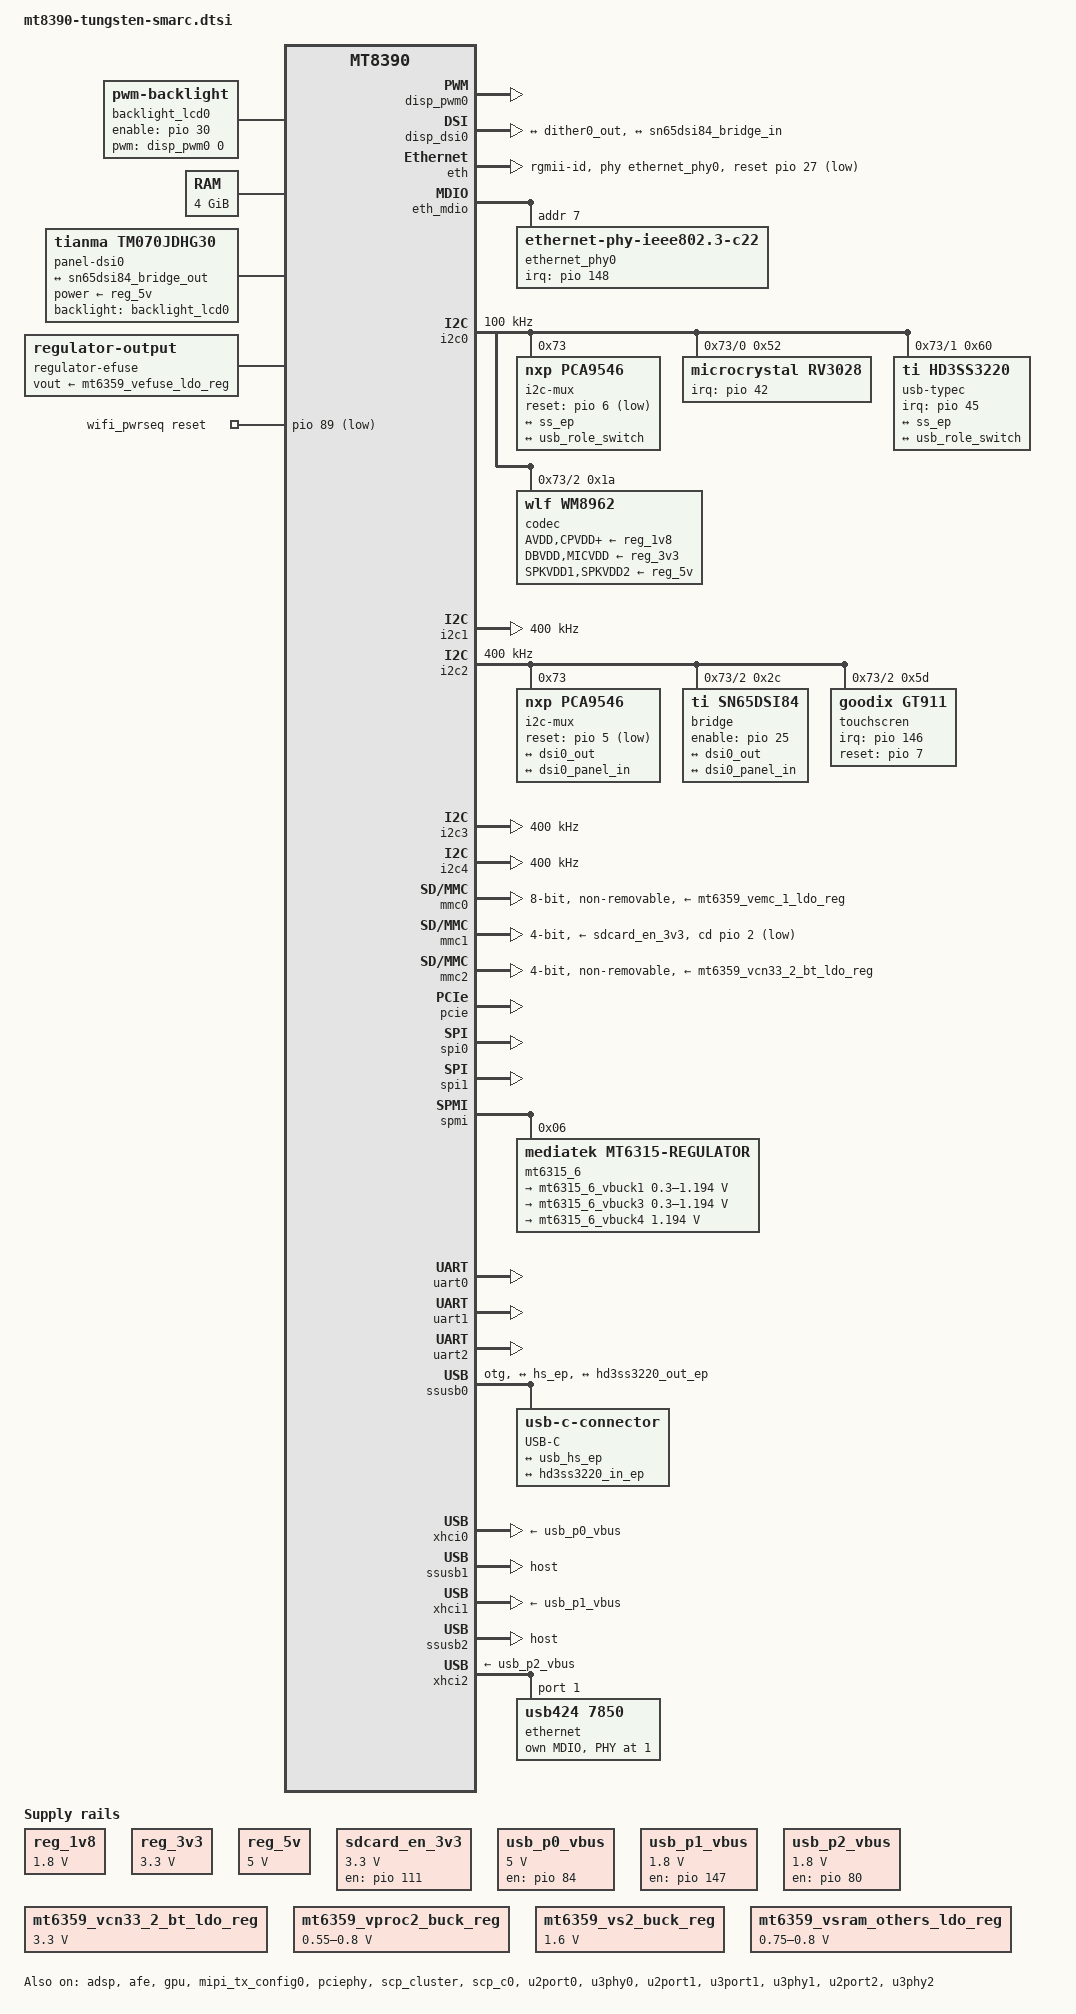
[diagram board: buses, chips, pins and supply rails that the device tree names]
// SPDX-License-Identifier: (GPL-2.0 OR MIT)
/*
 * Copyright (C) 2025 Ezurio LLC
 * Author: Gary Bisson <bisson.gary@gmail.com>
 */

#include "mt6359.dtsi"
#include <dt-bindings/gpio/gpio.h>
#include <dt-bindings/input/input.h>
#include <dt-bindings/input/linux-event-codes.h>
#include <dt-bindings/interrupt-controller/irq.h>
#include <dt-bindings/net/microchip-lan78xx.h>
#include <dt-bindings/pinctrl/mediatek,mt8188-pinfunc.h>
#include <dt-bindings/spmi/spmi.h>
#include <dt-bindings/usb/pd.h>

/ {
	aliases {
		dsi0 = &disp_dsi0;
		ethernet0 = &eth;
		i2c0 = &i2c0;
		i2c1 = &i2c1;
		i2c2 = &i2c2;
		i2c3 = &i2c3;
		i2c4 = &i2c4;
		i2c5 = &i2c5;
		i2c6 = &i2c6;
		mmc0 = &mmc0;
		mmc1 = &mmc1;
		mmc2 = &mmc2;
		rtc0 = &rv3028;
		rtc1 = &mt6359rtc;
		serial0 = &uart0;
	};

	backlight_lcd0: backlight-lcd0 {
		compatible = "pwm-backlight";
		brightness-levels = <0 1023>;
		default-brightness-level = <768>;
		num-interpolated-steps = <1023>;
		enable-gpios = <&pio 30 GPIO_ACTIVE_HIGH>;
		pwms = <&disp_pwm0 0 30000>;
	};

	chosen {
		stdout-path = "serial0:115200n8";
	};

	firmware {
		optee {
			compatible = "linaro,optee-tz";
			method = "smc";
		};
	};

	memory@40000000 {
		device_type = "memory";
		reg = <0 0x40000000 0x1 0x00000000>;
	};

	panel-dsi0 {
		compatible = "tianma,tm070jdhg30";
		backlight = <&backlight_lcd0>;
		power-supply = <&reg_5v>;

		port {
			dsi0_panel_in: endpoint {
				remote-endpoint = <&sn65dsi84_bridge_out>;
			};
		};
	};

	reserved-memory {
		#address-cells = <2>;
		#size-cells = <2>;
		ranges;

		/*
		 * 12 MiB reserved for OP-TEE (BL32)
		 * +-----------------------+ 0x43e0_0000
		 * |      SHMEM 2MiB       |
		 * +-----------------------+ 0x43c0_0000
		 * |        | TA_RAM  8MiB |
		 * + TZDRAM +--------------+ 0x4340_0000
		 * |        | TEE_RAM 2MiB |
		 * +-----------------------+ 0x4320_0000
		 */
		optee_reserved: optee@43200000 {
			no-map;
			reg = <0 0x43200000 0 0x00c00000>;
		};

		scp_mem: memory@50000000 {
			compatible = "shared-dma-pool";
			reg = <0 0x50000000 0 0x2900000>;
			no-map;
		};

		/* 2 MiB reserved for ARM Trusted Firmware (BL31) */
		bl31_secmon_reserved: memory@54600000 {
			no-map;
			reg = <0 0x54600000 0x0 0x200000>;
		};

		apu_mem: memory@55000000 {
			compatible = "shared-dma-pool";
			reg = <0 0x55000000 0 0x1400000>; /* 20 MB */
		};

		vpu_mem: memory@57000000 {
			compatible = "shared-dma-pool";
			reg = <0 0x57000000 0 0x1400000>; /* 20 MB */
		};

		adsp_mem: memory@60000000 {
			compatible = "shared-dma-pool";
			reg = <0 0x60000000 0 0xf00000>;
			no-map;
		};

		afe_dma_mem: memory@60f00000 {
			compatible = "shared-dma-pool";
			reg = <0 0x60f00000 0 0x100000>;
			no-map;
		};

		adsp_dma_mem: memory@61000000 {
			compatible = "shared-dma-pool";
			reg = <0 0x61000000 0 0x100000>;
			no-map;
		};
	};

	regulator-efuse {
		compatible = "regulator-output";
		vout-supply = <&mt6359_vefuse_ldo_reg>;
	};

	reg_1v8: regulator-1v8 {
		compatible = "regulator-fixed";
		regulator-name = "reg_1v8";
		regulator-min-microvolt = <1800000>;
		regulator-max-microvolt = <1800000>;
		regulator-always-on;
	};

	reg_3v3: regulator-3v3 {
		compatible = "regulator-fixed";
		regulator-name = "reg_3v3";
		regulator-min-microvolt = <3300000>;
		regulator-max-microvolt = <3300000>;
		regulator-always-on;
	};

	reg_5v: regulator-5v {
		compatible = "regulator-fixed";
		regulator-name = "reg_5v";
		regulator-min-microvolt = <5000000>;
		regulator-max-microvolt = <5000000>;
		regulator-always-on;
	};

	sdcard_en_3v3: regulator-sdcard-en {
		compatible = "regulator-fixed";
		regulator-always-on;
		regulator-name = "sdcard_en_3v3";
		regulator-min-microvolt = <3300000>;
		regulator-max-microvolt = <3300000>;
		gpio = <&pio 111 GPIO_ACTIVE_HIGH>;
		enable-active-high;
	};

	usb_p0_vbus: regulator-usb-p0-vbus {
		compatible = "regulator-fixed";
		regulator-name = "vbus_p0";
		regulator-min-microvolt = <5000000>;
		regulator-max-microvolt = <5000000>;
		gpio = <&pio 84 GPIO_ACTIVE_HIGH>;
		enable-active-high;
	};

	usb_p1_vbus: regulator-usb-p1-vbus {
		compatible = "regulator-fixed";
		pinctrl-names = "default";
		pinctrl-0 = <&usb1_hub_pins>;
		regulator-name = "vbus_p1";
		regulator-min-microvolt = <1800000>;
		regulator-max-microvolt = <1800000>;
		gpio = <&pio 147 GPIO_ACTIVE_HIGH>;
		enable-active-high;
	};

	usb_p2_vbus: regulator-usb-p2-vbus {
		compatible = "regulator-fixed";
		pinctrl-names = "default";
		pinctrl-0 = <&usb2_eth_pins>;
		regulator-name = "vbus_p2";
		regulator-min-microvolt = <1800000>;
		regulator-max-microvolt = <1800000>;
		gpio = <&pio 80 GPIO_ACTIVE_HIGH>;
		enable-active-high;
	};

	wifi_pwrseq: wifi-pwrseq {
		compatible = "mmc-pwrseq-simple";
		pinctrl-names = "default";
		pinctrl-0 = <&wifi_pwrseq_pins>;
		post-power-on-delay-ms = <200>;
		reset-gpios = <&pio 89 GPIO_ACTIVE_LOW>;
	};
};

&adsp {
	memory-region = <&adsp_dma_mem>, <&adsp_mem>;
	status = "okay";
};

&afe {
	memory-region = <&afe_dma_mem>;
	status = "okay";
};

&cpu0 {
	cpu-supply = <&mt6359_vcore_buck_reg>;
};

&cpu1 {
	cpu-supply = <&mt6359_vcore_buck_reg>;
};

&cpu2 {
	cpu-supply = <&mt6359_vcore_buck_reg>;
};

&cpu3 {
	cpu-supply = <&mt6359_vcore_buck_reg>;
};

&cpu6 {
	cpu-supply = <&mt6315_6_vbuck1>;
};

&cpu7 {
	cpu-supply = <&mt6315_6_vbuck1>;
};

&disp_pwm0 {
	pinctrl-names = "default";
	pinctrl-0 = <&disp_pwm0_pins>;
	status = "okay";
};

&disp_dsi0 {
	#address-cells = <1>;
	#size-cells = <0>;
	status = "okay";

	ports {
		#address-cells = <1>;
		#size-cells = <0>;

		port@0 {
			reg = <0>;
			dsi0_in: endpoint {
				remote-endpoint = <&dither0_out>;
			};
		};

		port@1 {
			reg = <1>;
			dsi0_out: endpoint {
				remote-endpoint = <&sn65dsi84_bridge_in>;
			};
		};
	};
};

&dither0_in {
	remote-endpoint = <&postmask0_out>;
};

&dither0_out {
	remote-endpoint = <&dsi0_in>;
};

&eth {
	phy-mode ="rgmii-id";
	phy-handle = <&ethernet_phy0>;
	pinctrl-names = "default", "sleep";
	pinctrl-0 = <&eth_default_pins>;
	pinctrl-1 = <&eth_sleep_pins>;
	mediatek,mac-wol;
	snps,reset-gpio = <&pio 27 GPIO_ACTIVE_LOW>;
	snps,reset-active-low;
	snps,reset-delays-us = <0 11000 1000>;
	status = "okay";
};

&eth_mdio {
	ethernet_phy0: ethernet-phy@7 {
		compatible = "ethernet-phy-ieee802.3-c22";
		reg = <0x7>;
		interrupts-extended = <&pio 148 IRQ_TYPE_LEVEL_LOW>;
	};
};

&gamma0_out {
	remote-endpoint = <&postmask0_in>;
};

&gpu {
	mali-supply = <&mt6359_vproc2_buck_reg>;
	status = "okay";
};

&i2c0 {
	pinctrl-names = "default";
	pinctrl-0 = <&i2c0_pins>;
	clock-frequency = <100000>;
	status = "okay";

	i2c-mux@73 {
		compatible = "nxp,pca9546";
		reg = <0x73>;
		pinctrl-names = "default";
		pinctrl-0 = <&i2c0_mux_pins>;
		reset-gpios = <&pio 6 GPIO_ACTIVE_LOW>;
		#address-cells = <1>;
		#size-cells = <0>;

		i2c_mux_gp_0: i2c@0 {
			reg = <0>;
			clock-frequency = <100000>;
			#address-cells = <1>;
			#size-cells = <0>;
		};

		i2c_mux_gp_1: i2c@1 {
			reg = <1>;
			clock-frequency = <100000>;
			#address-cells = <1>;
			#size-cells = <0>;
		};

		i2c_mux_gp_2: i2c@2 {
			reg = <2>;
			clock-frequency = <100000>;
			#address-cells = <1>;
			#size-cells = <0>;
		};

		i2c_mux_gp_3: i2c@3 {
			reg = <3>;
			clock-frequency = <100000>;
			#address-cells = <1>;
			#size-cells = <0>;
		};
	};
};

&i2c1 {
	pinctrl-names = "default";
	pinctrl-0 = <&i2c1_pins>;
	clock-frequency = <400000>;
	status = "okay";
};

&i2c2 {
	pinctrl-names = "default";
	pinctrl-0 = <&i2c2_pins>;
	clock-frequency = <400000>;
	status = "okay";

	i2c-mux@73 {
		compatible = "nxp,pca9546";
		reg = <0x73>;
		pinctrl-names = "default";
		pinctrl-0 = <&i2c_mux_smarc_lcd_pins>;
		reset-gpios = <&pio 5 GPIO_ACTIVE_LOW>;
		#address-cells = <1>;
		#size-cells = <0>;

		i2c_mux_lcd_0: i2c@0 {
			reg = <0>;
			clock-frequency = <100000>;
			#address-cells = <1>;
			#size-cells = <0>;
		};

		i2c_mux_lcd_1: i2c@1 {
			reg = <1>;
			clock-frequency = <100000>;
			#address-cells = <1>;
			#size-cells = <0>;
		};

		i2c_mux_lcd_2: i2c@2 {
			reg = <2>;
			clock-frequency = <100000>;
			#address-cells = <1>;
			#size-cells = <0>;
		};

		i2c_mux_lcd_3: i2c@3 {
			reg = <3>;
			clock-frequency = <100000>;
			#address-cells = <1>;
			#size-cells = <0>;
		};
	};
};

&i2c3 {
	pinctrl-names = "default";
	pinctrl-0 = <&i2c3_pins>;
	clock-frequency = <400000>;
	status = "okay";
};

&i2c4 {
	pinctrl-names = "default";
	pinctrl-0 = <&i2c4_pins>;
	clock-frequency = <400000>;
	status = "okay";
};

&i2c_mux_gp_0 {
	rv3028: rtc@52 {
		compatible = "microcrystal,rv3028";
		reg = <0x52>;
		interrupts-extended = <&pio 42 IRQ_TYPE_LEVEL_LOW>;
		pinctrl-names = "default";
		pinctrl-0 = <&rv3028_pins>;
		#clock-cells = <0>;
		wakeup-source;
	};
};

&i2c_mux_gp_1 {
	usb-typec@60 {
		compatible = "ti,hd3ss3220";
		reg = <0x60>;
		interrupts-extended = <&pio 45 IRQ_TYPE_LEVEL_LOW>;
		pinctrl-names = "default";
		pinctrl-0 = <&hd3ss3220_pins>;

		ports {
			#address-cells = <1>;
			#size-cells = <0>;

			port@0 {
				reg = <0>;
				hd3ss3220_in_ep: endpoint {
					remote-endpoint = <&ss_ep>;
				};
			};

			port@1 {
				reg = <1>;
				hd3ss3220_out_ep: endpoint {
					remote-endpoint = <&usb_role_switch>;
				};
			};
		};
	};
};

&i2c_mux_gp_2 {
	codec@1a {
		compatible = "wlf,wm8962";
		reg = <0x1a>;
		clocks = <&topckgen CLK_TOP_I2SO1>;
		AVDD-supply = <&reg_1v8>;
		CPVDD-supply = <&reg_1v8>;
		DBVDD-supply = <&reg_3v3>;
		DCVDD-supply = <&reg_1v8>;
		MICVDD-supply = <&reg_3v3>;
		PLLVDD-supply = <&reg_1v8>;
		SPKVDD1-supply = <&reg_5v>;
		SPKVDD2-supply = <&reg_5v>;
		gpio-cfg = <
			0x0000 /* n/c */
			0x0000 /* gpio2: */
			0x0000 /* gpio3: */
			0x0000 /* n/c */
			0x8081 /* gpio5:HP detect */
			0x8095 /* gpio6:Mic detect */
		>;
	};
};

&i2c_mux_lcd_2 {
	bridge@2c {
		compatible = "ti,sn65dsi84";
		reg = <0x2c>;
		pinctrl-names = "default";
		pinctrl-0 = <&dsi0_sn65dsi84_pins>;
		enable-gpios = <&pio 25 GPIO_ACTIVE_HIGH>;

		ports {
			#address-cells = <1>;
			#size-cells = <0>;

			port@0 {
				reg = <0>;

				sn65dsi84_bridge_in: endpoint {
					remote-endpoint = <&dsi0_out>;
					data-lanes = <1 2 3 4>;
				};
			};

			port@2 {
				reg = <2>;

				sn65dsi84_bridge_out: endpoint {
					remote-endpoint = <&dsi0_panel_in>;
				};
			};
		};
	};

	touchscren@5d {
		compatible = "goodix,gt911";
		reg = <0x5d>;
		pinctrl-names = "default";
		pinctrl-0 = <&ts_dsi0_goodix_pins>;
		interrupts-extended = <&pio 146 IRQ_TYPE_LEVEL_HIGH>;
		irq-gpios = <&pio 146 GPIO_ACTIVE_HIGH>;
		reset-gpios = <&pio 7 GPIO_ACTIVE_HIGH>;
	};
};

&mfg0 {
	domain-supply = <&mt6359_vproc2_buck_reg>;
};

&mfg1 {
	domain-supply = <&mt6359_vsram_others_ldo_reg>;
};

&mmc0 {
	bus-width = <8>;
	cap-mmc-highspeed;
	cap-mmc-hw-reset;
	hs400-ds-delay = <0x1481b>;
	max-frequency = <200000000>;
	mmc-hs200-1_8v;
	mmc-hs400-1_8v;
	non-removable;
	no-sd;
	no-sdio;
	supports-cqe;
	pinctrl-names = "default", "state_uhs";
	pinctrl-0 = <&mmc0_default_pins>;
	pinctrl-1 = <&mmc0_uhs_pins>;
	vmmc-supply = <&mt6359_vemc_1_ldo_reg>;
	vqmmc-supply = <&mt6359_vufs_ldo_reg>;
	status = "okay";
};

&mmc1 {
	bus-width = <4>;
	cap-sd-highspeed;
	max-frequency = <200000000>;
	sd-uhs-sdr104;
	sd-uhs-sdr50;
	pinctrl-names = "default", "state_uhs";
	pinctrl-0 = <&mmc1_default_pins>;
	pinctrl-1 = <&mmc1_uhs_pins>;
	cd-gpios = <&pio 2 GPIO_ACTIVE_LOW>;
	vqmmc-supply = <&mt6359_vsim1_ldo_reg>;
	vmmc-supply = <&sdcard_en_3v3>;
	status = "okay";
};

&mmc2 {
	bus-width = <4>;
	cap-sd-highspeed;
	cap-sdio-irq;
	keep-power-in-suspend;
	max-frequency = <200000000>;
	no-mmc;
	non-removable;
	no-sd;
	sd-uhs-sdr104;
	wakeup-source;
	pinctrl-names = "default", "state_uhs", "state_eint";
	pinctrl-0 = <&mmc2_default_pins>;
	pinctrl-1 = <&mmc2_uhs_pins>;
	pinctrl-2 = <&mmc2_eint_pins>;
	interrupt-names = "msdc", "sdio_wakeup";
	interrupts-extended = <&gic GIC_SPI 136 IRQ_TYPE_LEVEL_HIGH 0>,
			      <&pio 172 IRQ_TYPE_LEVEL_LOW>;
	vmmc-supply = <&mt6359_vcn33_2_bt_ldo_reg>;
	vqmmc-supply = <&mt6359_vcn18_ldo_reg>;
	mmc-pwrseq = <&wifi_pwrseq>;
	status = "okay";
};

&mipi_tx_config0 {
	status = "okay";
};

&mt6359codec {
	mediatek,mic-type-0 = <1>;
	mediatek,mic-type-1 = <3>;
};

&mt6359_vbbck_ldo_reg {
	regulator-always-on;
};

&mt6359_vcn18_ldo_reg {
	regulator-name = "vcn18_pmu";
	regulator-always-on;
	regulator-boot-on;
};

&mt6359_vcn33_1_bt_ldo_reg {
	regulator-name = "vcn33_1_pmu";
	regulator-always-on;
};

&mt6359_vcn33_2_bt_ldo_reg {
	regulator-name = "vcn33_2_pmu";
	regulator-min-microvolt = <3300000>;
	regulator-max-microvolt = <3300000>;
	regulator-always-on;
	regulator-boot-on;
};

&mt6359_vcore_buck_reg {
	regulator-name = "dvdd_proc_l";
	regulator-always-on;
};

&mt6359_vemc_1_ldo_reg {
	regulator-always-on;
};

&mt6359_vgpu11_buck_reg {
	regulator-name = "dvdd_core";
	regulator-always-on;
};

&mt6359_vmodem_buck_reg {
	regulator-always-on;
};

&mt6359_vpa_buck_reg {
	regulator-name = "vpa_pmu";
	regulator-always-on;
};

&mt6359_vproc2_buck_reg {
	/* The name "vgpu" is required by mtk-regulator-coupler */
	regulator-name = "vgpu";
	regulator-min-microvolt = <550000>;
	regulator-max-microvolt = <800000>;
	regulator-coupled-with = <&mt6359_vsram_others_ldo_reg>;
	regulator-coupled-max-spread = <225000>;
};

&mt6359_vs2_buck_reg {
	regulator-min-microvolt = <1600000>;
	regulator-boot-on;
};

&mt6359_vpu_buck_reg {
	regulator-name = "dvdd_adsp";
	regulator-always-on;
};

&mt6359_vrf12_ldo_reg {
	regulator-name = "va12_abb2_pmu";
	regulator-always-on;
};

&mt6359_vsram_md_ldo_reg {
	regulator-always-on;
};

&mt6359_vsram_others_ldo_reg {
	/* The name "vsram_gpu" is required by mtk-regulator-coupler */
	regulator-name = "vsram_gpu";
	regulator-min-microvolt = <750000>;
	regulator-max-microvolt = <800000>;
	regulator-coupled-with = <&mt6359_vproc2_buck_reg>;
	regulator-coupled-max-spread = <225000>;
};

&mt6359_vsim1_ldo_reg {
	regulator-name = "vsim1_pmu";
	regulator-max-microvolt = <1800000>;
	regulator-enable-ramp-delay = <480>;
};

&mt6359_vufs_ldo_reg {
	regulator-name = "vufs18_pmu";
	regulator-always-on;
};

&ovl0_in {
	remote-endpoint = <&vdosys0_ep_main>;
};

&pcie {
	pinctrl-names = "default";
	pinctrl-0 = <&pcie_default_pins>;
	status = "okay";
};

&pciephy {
	status = "okay";
};

&pmic {
	interrupts-extended = <&pio 222 IRQ_TYPE_LEVEL_HIGH>;

	keys {
		compatible = "mediatek,mt6359-keys";
		mediatek,long-press-mode = <1>;
		power-off-time-sec = <0>;

		power-key {
			linux,keycodes = <KEY_POWER>;
			wakeup-source;
		};
	};
};

&postmask0_in {
	remote-endpoint = <&gamma0_out>;
};

&postmask0_out {
	remote-endpoint = <&dither0_in>;
};

&scp_cluster {
	status = "okay";
};

&scp_c0 {
	memory-region = <&scp_mem>;
	status = "okay";
};

&spi0 {
	pinctrl-0 = <&spi0_pins>;
	pinctrl-names = "default";
	mediatek,pad-select = <0>;
	status = "okay";
};

&spi1 {
	pinctrl-0 = <&spi1_pins>;
	pinctrl-names = "default";
	mediatek,pad-select = <0>;
	status = "okay";
};

&spmi {
	#address-cells = <2>;
	#size-cells = <0>;

	mt6315_6: pmic@6 {
		compatible = "mediatek,mt6315-regulator";
		reg = <0x6 SPMI_USID>;

		regulators {
			mt6315_6_vbuck1: vbuck1 {
				regulator-name = "vbuck1";
				regulator-min-microvolt = <300000>;
				regulator-max-microvolt = <1193750>;
				regulator-enable-ramp-delay = <256>;
				regulator-allowed-modes = <0 1 2>;
				regulator-always-on;
			};

			mt6315_6_vbuck3: vbuck3 {
				regulator-name = "vbuck3";
				regulator-min-microvolt = <300000>;
				regulator-max-microvolt = <1193750>;
				regulator-enable-ramp-delay = <256>;
				regulator-allowed-modes = <0 1 2>;
				regulator-always-on;
			};

			mt6315_6_vbuck4: vbuck4 {
				regulator-name = "vbuck4";
				regulator-min-microvolt = <1193750>;
				regulator-max-microvolt = <1193750>;
				regulator-enable-ramp-delay = <256>;
				regulator-allowed-modes = <0 1 2>;
				regulator-always-on;

				regulator-state-mem {
					regulator-on-in-suspend;
					regulator-suspend-microvolt = <1193750>;
				};
			};
		};
	};
};

&uart0 {
	pinctrl-0 = <&uart0_pins>;
	pinctrl-names = "default";
	status = "okay";
};

&uart1 {
	pinctrl-0 = <&uart1_pins>;
	pinctrl-names = "default";
	status = "okay";
};

&uart2 {
	pinctrl-0 = <&uart2_pins>;
	pinctrl-names = "default";
	status = "okay";
};

&ssusb0 {
	dr_mode = "otg";
	maximum-speed = "high-speed";
	usb-role-switch;
	wakeup-source;
	vusb33-supply = <&mt6359_vusb_ldo_reg>;
	pinctrl-0 = <&usbotg_pins>;
	pinctrl-names = "default";
	status = "okay";

	connector {
		compatible = "usb-c-connector";
		label = "USB-C";
		data-role = "dual";

		ports {
			#address-cells = <1>;
			#size-cells = <0>;

			port@0 {
				reg = <0>;
				hs_ep: endpoint {
					remote-endpoint = <&usb_hs_ep>;
				};
			};

			port@1 {
				reg = <1>;
				ss_ep: endpoint {
					remote-endpoint = <&hd3ss3220_in_ep>;
				};
			};
		};
	};

	ports {
		#address-cells = <1>;
		#size-cells = <0>;

		port@0 {
			reg = <0>;
			usb_hs_ep: endpoint {
				remote-endpoint = <&hs_ep>;
			};
		};

		port@1 {
			reg = <1>;
			usb_role_switch: endpoint {
				remote-endpoint = <&hd3ss3220_out_ep>;
			};
		};
	};
};

&u2port0 {
	status = "okay";
};

&u3phy0 {
	status = "okay";
};

&xhci0 {
	vbus-supply = <&usb_p0_vbus>;
	vusb33-supply = <&mt6359_vusb_ldo_reg>;
	status = "okay";
};

&ssusb1 {
	dr_mode = "host";
	wakeup-source;
	vusb33-supply = <&mt6359_vusb_ldo_reg>;
	pinctrl-0 = <&usb1_pins>;
	pinctrl-names = "default";
	status = "okay";
};

&u2port1 {
	status = "okay";
};

&u3port1 {
	status = "okay";
};

&u3phy1 {
	status = "okay";
};

&xhci1 {
	vbus-supply = <&usb_p1_vbus>;
	vusb33-supply = <&mt6359_vusb_ldo_reg>;
	status = "okay";
};

&ssusb2 {
	dr_mode = "host";
	maximum-speed = "high-speed";
	wakeup-source;
	vusb33-supply = <&mt6359_vusb_ldo_reg>;
	status = "okay";
};

&u2port2 {
	status = "okay";
};

&u3phy2 {
	status = "okay";
};

&xhci2 {
	vbus-supply = <&usb_p2_vbus>;
	vusb33-supply = <&mt6359_vusb_ldo_reg>;
	#address-cells = <1>;
	#size-cells = <0>;
	status = "okay";

	ethernet@1 {
		compatible = "usb424,7850";
		reg = <1>;
		#address-cells = <1>;
		#size-cells = <0>;

		mdio {
			#address-cells = <1>;
			#size-cells = <0>;

			ethernet-phy@1 {
				reg = <1>;
				microchip,led-modes = <
					LAN78XX_LINK_1000_ACTIVITY
					LAN78XX_LINK_10_ACTIVITY
					LAN78XX_LINK_10_100_ACTIVITY
					LAN78XX_LINK_ACTIVITY
				>;
			};
		};
	};
};

&vdosys0 {
	port {
		#address-cells = <1>;
		#size-cells = <0>;

		vdosys0_ep_main: endpoint@0 {
			reg = <0>;
			remote-endpoint = <&ovl0_in>;
		};
	};
};

&watchdog {
	pinctrl-names = "default";
	pinctrl-0 = <&watchdog_pins>;
};

&pio {
	audio_pins: audio-pins {
		pins-aud-pmic {
			pinmux = <PINMUX_GPIO101__FUNC_O_AUD_CLK_MOSI
				  PINMUX_GPIO102__FUNC_O_AUD_SYNC_MOSI
				  PINMUX_GPIO103__FUNC_O_AUD_DAT_MOSI0
				  PINMUX_GPIO104__FUNC_O_AUD_DAT_MOSI1
				  PINMUX_GPIO105__FUNC_I0_AUD_DAT_MISO0
				  PINMUX_GPIO106__FUNC_I0_AUD_DAT_MISO1>;
		};

		pins-pcm-wifi {
			pinmux = <PINMUX_GPIO121__FUNC_B0_PCM_CLK
				  PINMUX_GPIO122__FUNC_B0_PCM_SYNC
				  PINMUX_GPIO123__FUNC_O_PCM_DO
				  PINMUX_GPIO124__FUNC_I0_PCM_DI>;
		};

		pins-i2s {
			pinmux = <PINMUX_GPIO119__FUNC_O_I2SO1_MCK
				  PINMUX_GPIO112__FUNC_O_I2SO1_WS
				  PINMUX_GPIO120__FUNC_O_I2SO1_BCK
				  PINMUX_GPIO113__FUNC_O_I2SO1_D0
				  PINMUX_GPIO110__FUNC_I0_I2SIN_D0>;
		};
	};

	disp_pwm0_pins: disp-pwm0-pins {
		pins {
			pinmux = <PINMUX_GPIO29__FUNC_O_DISP_PWM0>;
			bias-pull-down;
		};
	};

	dsi0_sn65dsi84_pins: dsi0-sn65dsi84-pins {
		pins-irq {
			pinmux = <PINMUX_GPIO128__FUNC_B_GPIO128>;
			bias-pull-down;
			input-enable;
		};

		pins-enable {
			pinmux = <PINMUX_GPIO25__FUNC_B_GPIO25>;
			bias-pull-down;
		};
	};

	eth_default_pins: eth-default-pins {
		pins-txd {
			pinmux = <PINMUX_GPIO131__FUNC_O_GBE_TXD3>,
				 <PINMUX_GPIO132__FUNC_O_GBE_TXD2>,
				 <PINMUX_GPIO133__FUNC_O_GBE_TXD1>,
				 <PINMUX_GPIO134__FUNC_O_GBE_TXD0>;
			drive-strength = <8>;
		};
		pins-cc {
			pinmux = <PINMUX_GPIO139__FUNC_B0_GBE_TXC>,
				 <PINMUX_GPIO142__FUNC_O_GBE_TXEN>,
				 <PINMUX_GPIO141__FUNC_I0_GBE_RXDV>;
			drive-strength = <8>;
		};
		pins-rxd {
			pinmux = <PINMUX_GPIO135__FUNC_I0_GBE_RXD3>,
				 <PINMUX_GPIO136__FUNC_I0_GBE_RXD2>,
				 <PINMUX_GPIO137__FUNC_I0_GBE_RXD1>,
				 <PINMUX_GPIO138__FUNC_I0_GBE_RXD0>,
				 <PINMUX_GPIO140__FUNC_I0_GBE_RXC>;
			drive-strength = <8>;
			bias-pull-up = <MTK_PUPD_SET_R1R0_10>;
		};
		pins-mdio {
			pinmux = <PINMUX_GPIO143__FUNC_O_GBE_MDC>,
				 <PINMUX_GPIO144__FUNC_B1_GBE_MDIO>;
			drive-strength = <8>;
			input-enable;
		};
		pins-power {
			pinmux = <PINMUX_GPIO27__FUNC_B_GPIO27>; /* GP_EQOS_RESET */
			output-high;
		};
		pins-intr {
			pinmux = <PINMUX_GPIO148__FUNC_B_GPIO148>; /* GPIRQ_EQOS_PHY */
			bias-pull-up = <MTK_PUPD_SET_R1R0_10>;
			input-enable;
		};
	};

	eth_sleep_pins: eth-sleep-pins {
		pins-txd {
			pinmux = <PINMUX_GPIO131__FUNC_B_GPIO131>,
				 <PINMUX_GPIO132__FUNC_B_GPIO132>,
				 <PINMUX_GPIO133__FUNC_B_GPIO133>,
				 <PINMUX_GPIO134__FUNC_B_GPIO134>;
		};
		pins-cc {
			pinmux = <PINMUX_GPIO139__FUNC_B_GPIO139>,
				 <PINMUX_GPIO142__FUNC_B_GPIO142>,
				 <PINMUX_GPIO141__FUNC_B_GPIO141>,
				 <PINMUX_GPIO140__FUNC_B_GPIO140>;
		};
		pins-rxd {
			pinmux = <PINMUX_GPIO135__FUNC_B_GPIO135>,
				 <PINMUX_GPIO136__FUNC_B_GPIO136>,
				 <PINMUX_GPIO137__FUNC_B_GPIO137>,
				 <PINMUX_GPIO138__FUNC_B_GPIO138>;
		};
		pins-mdio {
			pinmux = <PINMUX_GPIO143__FUNC_B_GPIO143>,
				 <PINMUX_GPIO144__FUNC_B_GPIO144>;
			input-disable;
			bias-disable;
		};
	};

	gpio_keys_pins: gpio-keys-pins {
		pins-keys {
			pinmux = <PINMUX_GPIO129__FUNC_B_GPIO129>,
				 <PINMUX_GPIO65__FUNC_B_GPIO65>,
				 <PINMUX_GPIO66__FUNC_B_GPIO66>;
			bias-pull-up;
		};
	};

	hd3ss3220_pins: hd3ss3320-pins {
		pins-irq {
			pinmux = <PINMUX_GPIO45__FUNC_B_GPIO45>;
			bias-pull-up = <MTK_PUPD_SET_R1R0_01>;
			input-enable;
		};
	};

	hdmi_vreg_pins: hdmi-vreg-pins {
		pins-pwr {
			pinmux = <PINMUX_GPIO50__FUNC_O_HDMITX20_PWR5V>;
			bias-disable;
		};
	};

	hdmi_pins: hdmi-pins {
		pins-hotplug {
			pinmux = <PINMUX_GPIO51__FUNC_I0_HDMITX20_HTPLG>;
			bias-pull-down;
		};

		pins-cec {
			pinmux = <PINMUX_GPIO52__FUNC_B1_HDMITX20_CEC>;
			bias-disable;
		};

		pins-ddc {
			pinmux = <PINMUX_GPIO53__FUNC_B1_HDMITX20_SCL>,
				 <PINMUX_GPIO54__FUNC_B1_HDMITX20_SDA>;
			drive-strength = <10>;
		};
	};

	i2c0_pins: i2c0-pins {
		pins-bus {
			pinmux = <PINMUX_GPIO56__FUNC_B1_SDA0>,
				 <PINMUX_GPIO55__FUNC_B1_SCL0>;
			bias-pull-up = <MTK_PULL_SET_RSEL_011>;
			drive-strength-microamp = <1000>;
		};
	};

	i2c0_mux_pins: i2c0-mux-pins {
		pins-reset {
			pinmux = <PINMUX_GPIO6__FUNC_B_GPIO6>;
			bias-pull-up;
		};
	};

	i2c1_pins: i2c1-pins {
		pins-bus {
			pinmux = <PINMUX_GPIO58__FUNC_B1_SDA1>,
				 <PINMUX_GPIO57__FUNC_B1_SCL1>;
			bias-pull-up = <MTK_PULL_SET_RSEL_011>;
			drive-strength-microamp = <1000>;
		};
	};

	i2c2_pins: i2c2-pins {
		pins-bus {
			pinmux = <PINMUX_GPIO60__FUNC_B1_SDA2>,
				 <PINMUX_GPIO59__FUNC_B1_SCL2>;
			bias-pull-up = <MTK_PULL_SET_RSEL_011>;
			drive-strength-microamp = <1000>;
		};
	};

	i2c3_pins: i2c3-pins {
		pins-bus {
			pinmux = <PINMUX_GPIO62__FUNC_B1_SDA3>,
				 <PINMUX_GPIO61__FUNC_B1_SCL3>;
			bias-pull-up = <MTK_PULL_SET_RSEL_011>;
			drive-strength-microamp = <1000>;
		};
	};

	i2c4_pins: i2c4-pins {
		pins-bus {
			pinmux = <PINMUX_GPIO64__FUNC_B1_SDA4>,
				 <PINMUX_GPIO63__FUNC_B1_SCL4>;
			bias-pull-up = <MTK_PULL_SET_RSEL_011>;
			drive-strength-microamp = <1000>;
		};
	};

	i2c_mux_smarc_lcd_pins: i2c-mux-smarc-lcd-pins {
		pins-reset {
			pinmux = <PINMUX_GPIO5__FUNC_B_GPIO5>;
			bias-pull-down;
		};
	};

	mmc0_default_pins: mmc0-default-pins {
		pins-cmd-dat {
			pinmux = <PINMUX_GPIO161__FUNC_B1_MSDC0_DAT0>,
				 <PINMUX_GPIO160__FUNC_B1_MSDC0_DAT1>,
				 <PINMUX_GPIO159__FUNC_B1_MSDC0_DAT2>,
				 <PINMUX_GPIO158__FUNC_B1_MSDC0_DAT3>,
				 <PINMUX_GPIO154__FUNC_B1_MSDC0_DAT4>,
				 <PINMUX_GPIO153__FUNC_B1_MSDC0_DAT5>,
				 <PINMUX_GPIO152__FUNC_B1_MSDC0_DAT6>,
				 <PINMUX_GPIO151__FUNC_B1_MSDC0_DAT7>,
				 <PINMUX_GPIO156__FUNC_B1_MSDC0_CMD>;
			input-enable;
			drive-strength = <6>;
			bias-pull-up = <MTK_PUPD_SET_R1R0_01>;
		};

		pins-clk {
			pinmux = <PINMUX_GPIO157__FUNC_B1_MSDC0_CLK>;
			drive-strength = <6>;
			bias-pull-down = <MTK_PUPD_SET_R1R0_10>;
		};

		pins-rst {
			pinmux = <PINMUX_GPIO155__FUNC_O_MSDC0_RSTB>;
			drive-strength = <6>;
			bias-pull-up = <MTK_PUPD_SET_R1R0_01>;
		};
	};

	mmc0_uhs_pins: mmc0-uhs-pins {
		pins-cmd-dat {
			pinmux = <PINMUX_GPIO161__FUNC_B1_MSDC0_DAT0>,
				 <PINMUX_GPIO160__FUNC_B1_MSDC0_DAT1>,
				 <PINMUX_GPIO159__FUNC_B1_MSDC0_DAT2>,
				 <PINMUX_GPIO158__FUNC_B1_MSDC0_DAT3>,
				 <PINMUX_GPIO154__FUNC_B1_MSDC0_DAT4>,
				 <PINMUX_GPIO153__FUNC_B1_MSDC0_DAT5>,
				 <PINMUX_GPIO152__FUNC_B1_MSDC0_DAT6>,
				 <PINMUX_GPIO151__FUNC_B1_MSDC0_DAT7>,
				 <PINMUX_GPIO156__FUNC_B1_MSDC0_CMD>;
			input-enable;
			drive-strength = <8>;
			bias-pull-up = <MTK_PUPD_SET_R1R0_01>;
		};

		pins-clk {
			pinmux = <PINMUX_GPIO157__FUNC_B1_MSDC0_CLK>;
			drive-strength = <8>;
			bias-pull-down = <MTK_PUPD_SET_R1R0_10>;
		};

		pins-ds {
			pinmux = <PINMUX_GPIO162__FUNC_B0_MSDC0_DSL>;
			drive-strength = <8>;
			bias-pull-down = <MTK_PUPD_SET_R1R0_10>;
		};

		pins-rst {
			pinmux = <PINMUX_GPIO155__FUNC_O_MSDC0_RSTB>;
			drive-strength = <8>;
			bias-pull-up = <MTK_PUPD_SET_R1R0_01>;
		};
	};

	mmc1_default_pins: mmc1-default-pins {
		pins-cmd-dat {
			pinmux = <PINMUX_GPIO163__FUNC_B1_MSDC1_CMD>,
				 <PINMUX_GPIO165__FUNC_B1_MSDC1_DAT0>,
				 <PINMUX_GPIO166__FUNC_B1_MSDC1_DAT1>,
				 <PINMUX_GPIO167__FUNC_B1_MSDC1_DAT2>,
				 <PINMUX_GPIO168__FUNC_B1_MSDC1_DAT3>;
			input-enable;
			drive-strength = <6>;
			bias-pull-up = <MTK_PUPD_SET_R1R0_01>;
		};

		pins-pwr {
			pinmux = <PINMUX_GPIO111__FUNC_B_GPIO111>;
			bias-pull-down;
		};

		pins-pullup {
			pinmux = <PINMUX_GPIO11__FUNC_B_GPIO11>;
			bias-pull-up;
		};

		pins-clk {
			pinmux = <PINMUX_GPIO164__FUNC_B1_MSDC1_CLK>;
			drive-strength = <6>;
			bias-pull-down = <MTK_PUPD_SET_R1R0_10>;
		};

		pins-insert {
			pinmux = <PINMUX_GPIO2__FUNC_B_GPIO2>;
			bias-pull-up;
		};
	};

	mmc1_uhs_pins: mmc1-uhs-pins {
		pins-cmd-dat {
			pinmux = <PINMUX_GPIO163__FUNC_B1_MSDC1_CMD>,
				 <PINMUX_GPIO165__FUNC_B1_MSDC1_DAT0>,
				 <PINMUX_GPIO166__FUNC_B1_MSDC1_DAT1>,
				 <PINMUX_GPIO167__FUNC_B1_MSDC1_DAT2>,
				 <PINMUX_GPIO168__FUNC_B1_MSDC1_DAT3>;
			input-enable;
			drive-strength = <6>;
			bias-pull-up = <MTK_PUPD_SET_R1R0_01>;
		};

		pins-clk {
			pinmux = <PINMUX_GPIO164__FUNC_B1_MSDC1_CLK>;
			drive-strength = <6>;
			bias-pull-down = <MTK_PUPD_SET_R1R0_10>;
		};
	};

	mmc2_default_pins: mmc2-default-pins {
		pins-clk {
			pinmux = <PINMUX_GPIO170__FUNC_B1_MSDC2_CLK>;
			drive-strength = <4>;
			bias-pull-down = <MTK_PUPD_SET_R1R0_10>;
		};

		pins-cmd-dat {
			pinmux = <PINMUX_GPIO169__FUNC_B1_MSDC2_CMD>,
				 <PINMUX_GPIO171__FUNC_B1_MSDC2_DAT0>,
				 <PINMUX_GPIO172__FUNC_B1_MSDC2_DAT1>,
				 <PINMUX_GPIO173__FUNC_B1_MSDC2_DAT2>,
				 <PINMUX_GPIO174__FUNC_B1_MSDC2_DAT3>;
			input-enable;
			drive-strength = <6>;
			bias-pull-up = <MTK_PUPD_SET_R1R0_01>;
		};
	};

	mmc2_uhs_pins: mmc2-uhs-pins {
		pins-clk {
			pinmux = <PINMUX_GPIO170__FUNC_B1_MSDC2_CLK>;
			drive-strength = <4>;
			bias-pull-down = <MTK_PUPD_SET_R1R0_10>;
		};

		pins-cmd-dat {
			pinmux = <PINMUX_GPIO169__FUNC_B1_MSDC2_CMD>,
				 <PINMUX_GPIO171__FUNC_B1_MSDC2_DAT0>,
				 <PINMUX_GPIO172__FUNC_B1_MSDC2_DAT1>,
				 <PINMUX_GPIO173__FUNC_B1_MSDC2_DAT2>,
				 <PINMUX_GPIO174__FUNC_B1_MSDC2_DAT3>;
			input-enable;
			drive-strength = <6>;
			bias-pull-up = <MTK_PUPD_SET_R1R0_01>;
		};
	};

	mmc2_eint_pins: mmc2-eint-pins {
		pins-dat1 {
			pinmux = <PINMUX_GPIO172__FUNC_B_GPIO172>;
			input-enable;
			bias-pull-up = <MTK_PUPD_SET_R1R0_01>;
		};
	};

	rv3028_pins: rv3028-pins {
		pins-irq {
			pinmux = <PINMUX_GPIO42__FUNC_B_GPIO42>;
			bias-pull-up = <MTK_PUPD_SET_R1R0_01>;
			input-enable;
		};
	};

	spi0_pins: spi0-pins {
		pins-spi {
			pinmux = <PINMUX_GPIO69__FUNC_O_SPIM0_CSB>,
				 <PINMUX_GPIO70__FUNC_O_SPIM0_CLK>,
				 <PINMUX_GPIO71__FUNC_B0_SPIM0_MOSI>,
				 <PINMUX_GPIO72__FUNC_B0_SPIM0_MISO>;
			bias-disable;
		};
	};

	spi1_pins: spi1-pins {
		pins-spi {
			pinmux = <PINMUX_GPIO75__FUNC_O_SPIM1_CSB>,
				 <PINMUX_GPIO76__FUNC_O_SPIM1_CLK>,
				 <PINMUX_GPIO77__FUNC_B0_SPIM1_MOSI>,
				 <PINMUX_GPIO78__FUNC_B0_SPIM1_MISO>;
			bias-disable;
		};
	};

	pcie_default_pins: pcie-default-pins {
		pins {
			pinmux = <PINMUX_GPIO47__FUNC_I1_WAKEN>,
				 <PINMUX_GPIO48__FUNC_O_PERSTN>,
				 <PINMUX_GPIO49__FUNC_B1_CLKREQN>;
			bias-pull-up;
		};
	};

	ts_dsi0_goodix_pins: ts-dsi0-goodix-pins {
		pins-irq {
			pinmux = <PINMUX_GPIO146__FUNC_B_GPIO146>;
			bias-pull-up = <MTK_PUPD_SET_R1R0_01>;
			input-enable;
		};

		pins-reset {
			pinmux = <PINMUX_GPIO7__FUNC_B_GPIO7>;
			bias-pull-down;
		};
	};

	uart0_pins: uart0-pins {
		pins {
			pinmux = <PINMUX_GPIO31__FUNC_O_UTXD0>,
				 <PINMUX_GPIO32__FUNC_I1_URXD0>;
			bias-pull-up;
		};
	};

	uart1_pins: uart1-pins {
		pins {
			pinmux = <PINMUX_GPIO33__FUNC_O_UTXD1>,
				 <PINMUX_GPIO34__FUNC_I1_URXD1>;
			bias-pull-up;
		};
	};

	uart2_pins: uart2-pins {
		pins {
			pinmux = <PINMUX_GPIO35__FUNC_O_UTXD2>,
				 <PINMUX_GPIO36__FUNC_I1_URXD2>;
			bias-pull-up;
		};
	};

	usbotg_pins: usbotg-pins {
		pins-iddig {
			pinmux = <PINMUX_GPIO83__FUNC_B_GPIO83>;
			input-enable;
			bias-pull-up;
		};

		pins-valid {
			pinmux = <PINMUX_GPIO85__FUNC_I0_VBUSVALID>;
			input-enable;
		};

		pins-vbus {
			pinmux = <PINMUX_GPIO84__FUNC_O_USB_DRVVBUS>;
			output-high;
		};
	};

	usb1_hub_pins: usb1-hub-pins {
		pins {
			pinmux = <PINMUX_GPIO147__FUNC_B_GPIO147>;
			output-low;
		};
	};

	usb1_pins: usb1-pins {
		pins {
			pinmux = <PINMUX_GPIO88__FUNC_I0_VBUSVALID_1P>;
			input-enable;
		};
	};

	usb2_eth_pins: usb2-eth-pins {
		pins {
			pinmux = <PINMUX_GPIO80__FUNC_B_GPIO80>;
			output-low;
		};
	};

	wifi_pwrseq_pins: wifi-pwrseq-pins {
		pins {
			pinmux = <PINMUX_GPIO89__FUNC_B_GPIO89>;
			output-low;
		};
	};

	watchdog_pins: watchdog-pins {
		pins {
			pinmux = <PINMUX_GPIO100__FUNC_O_WATCHDOG>;
			bias-pull-up;
		};
	};
};
